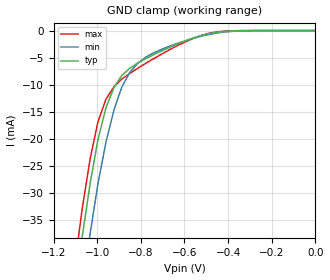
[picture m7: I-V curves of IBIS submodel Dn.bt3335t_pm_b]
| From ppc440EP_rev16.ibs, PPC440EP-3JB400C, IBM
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[Submodel]  Dn.bt3335t_pm_b
Submodel_type   Dynamic_clamp
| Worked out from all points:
|   GND clamp passes 1 mA (typ) near -0.53 V on its own axis
[GND Clamp]   | Note: Vtable =  Vout
| Voltage   I(typ)   I(min)   I(max)
-3.6V     -1.219A    -1.192A    -1.242A
-1.107V   -50.11mA   -59.94mA   -44.8mA
-1.07V    -38.58mA   -48.35mA   -33.37mA
-1.033V   -28.49mA   -37.77mA   -23.9mA
-997mV    -20.29mA   -28.46mA   -16.97mA
-960mV    -14.31mA   -20.69mA   -12.71mA
-923mV    -10.51mA   -14.68mA   -10.38mA
-887mV    -8.297mA   -10.45mA   -8.97mA
-813mV    -5.987mA   -6.003mA   -6.951mA
-703mV    -3.741mA   -3.434mA   -4.323mA
-483mV    -528uA     -687uA     -468uA
0V        0A         0A         0A
